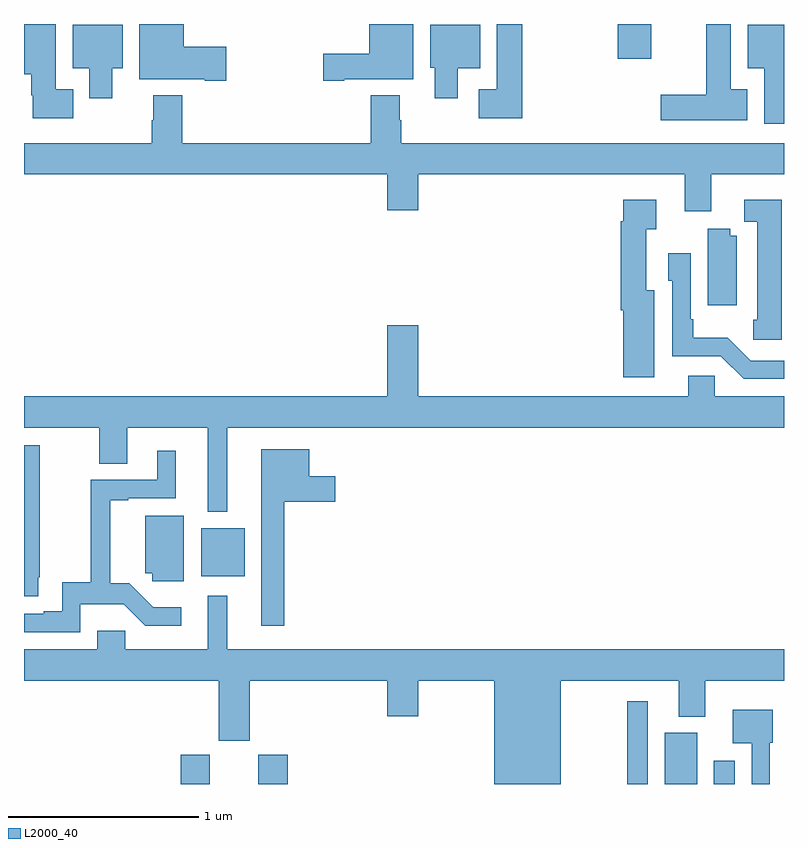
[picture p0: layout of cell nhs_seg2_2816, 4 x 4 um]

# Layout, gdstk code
import gdstk
lib = gdstk.Library(unit=1e-6, precision=1e-09)
def R(c, l, rs):  # rectangles x0, y0, x1, y1
    for r in rs: c.add(gdstk.rectangle(r[:2], r[2:], *l))
def P(c, l, *ps):  # polygons
    for p in ps: c.add(gdstk.Polygon(p, *l))
L2000_40 = (2000, 40)

nhs_seg2_2816 = lib.new_cell('nhs_seg2_2816')
R(nhs_seg2_2816, L2000_40, [(259.826,605.8,259.978,605.955), (260.234,605.8,260.387,605.955), (262.176,605.8,262.284,606.235), (262.373,605.8,262.543,606.07), (262.631,605.8,262.741,605.923), (259.934,606.893,260.161,607.147), (262.124,609.618,262.302,609.8)])
P(nhs_seg2_2816, L2000_40, [(262.807,609.457),(262.72,609.457),(262.72,609.8),(262.591,609.8),(262.591,609.428),(262.35,609.428),(262.35,609.293),(262.807,609.293)],
  [(259.258,609.457),(259.168,609.457),(259.168,609.8),(259,609.8),(259,609.536),(259.039,609.536),(259.039,609.425),(259.046,609.425),(259.046,609.305),(259.258,609.305)],
  [(260.065,609.68),(259.84,609.68),(259.84,609.8),(259.607,609.8),(259.607,609.509),(259.952,609.509),(259.952,609.502),(260.065,609.502)],
  [(260.686,609.509),(261.049,609.509),(261.049,609.8),(260.816,609.8),(260.816,609.644),(260.574,609.644),(260.574,609.502),(260.686,609.502)],
  [(261.623,609.8),(261.488,609.8),(261.488,609.457),(261.393,609.457),(261.393,609.305),(261.623,609.305)],
  [(263,609.796),(262.808,609.796),(262.808,609.566),(262.895,609.566),(262.895,609.276),(263,609.276)],
  [(261.283,609.566),(261.4,609.566),(261.4,609.796),(261.137,609.796),(261.137,609.57),(261.161,609.57),(261.161,609.408),(261.283,609.408)],
  [(259.465,609.566),(259.519,609.566),(259.519,609.796),(259.256,609.796),(259.256,609.566),(259.343,609.566),(259.343,609.408),(259.465,609.408)],
  [(262.618,609.008),(263,609.008),(263,609.172),(260.985,609.172),(260.985,609.293),(260.977,609.293),(260.977,609.424),(260.825,609.424),(260.825,609.172),(259.832,609.172),(259.832,609.424),(259.679,609.424),(259.679,609.293),(259.672,609.293),(259.672,609.172),(259,609.172),(259,609.008),(260.912,609.008),(260.912,608.82),(261.076,608.82),(261.076,609.008),(262.478,609.008),(262.478,608.814),(262.618,608.814)],
  [(262.987,608.875),(262.791,608.875),(262.791,608.76),(262.859,608.76),(262.859,608.244),(262.837,608.244),(262.837,608.139),(262.987,608.139)],
  [(262.318,608.398),(262.276,608.398),(262.276,608.719),(262.327,608.719),(262.327,608.875),(262.154,608.875),(262.154,608.762),(262.142,608.762),(262.142,608.294),(262.154,608.294),(262.154,607.941),(262.318,607.941)],
  [(262.75,608.686),(262.718,608.686),(262.718,608.723),(262.598,608.723),(262.598,608.319),(262.75,608.319)],
  [(263,608.028),(262.824,608.028),(262.703,608.149),(262.522,608.149),(262.522,608.245),(262.509,608.245),(262.509,608.593),(262.392,608.593),(262.392,608.448),(262.413,608.448),(262.413,608.052),(262.668,608.052),(262.788,607.932),(263,607.932)],
  [(260.071,607.676),(263,607.676),(263,607.84),(262.635,607.84),(262.635,607.95),(262.496,607.95),(262.496,607.84),(261.076,607.84),(261.076,608.215),(260.912,608.215),(260.912,607.84),(259,607.84),(259,607.676),(259.396,607.676),(259.396,607.486),(259.543,607.486),(259.543,607.676),(259.967,607.676),(259.967,607.232),(260.071,607.232)],
  [(259.076,606.889),(259.082,606.889),(259.082,607.584),(259,607.584),(259,606.787),(259.076,606.787)],
  [(260.371,607.286),(260.638,607.286),(260.638,607.42),(260.5,607.42),(260.5,607.561),(260.249,607.561),(260.249,606.633),(260.371,606.633)],
  [(259.296,606.746),(259.525,606.746),(259.638,606.633),(259.828,606.633),(259.828,606.73),(259.679,606.73),(259.553,606.856),(259.454,606.856),(259.454,607.293),(259.549,607.293),(259.549,607.305),(259.798,607.305),(259.798,607.555),(259.7,607.555),(259.7,607.401),(259.351,607.401),(259.351,606.863),(259.2,606.863),(259.2,606.71),(259.103,606.71),(259.103,606.696),(259,606.696),(259,606.6),(259.296,606.6)],
  [(259.84,607.213),(259.637,607.213),(259.637,606.908),(259.674,606.908),(259.674,606.866),(259.84,606.866)],
  [(261.826,606.344),(262.445,606.344),(262.445,606.155),(262.585,606.155),(262.585,606.344),(263,606.344),(263,606.508),(260.071,606.508),(260.071,606.79),(259.967,606.79),(259.967,606.508),(259.532,606.508),(259.532,606.606),(259.385,606.606),(259.385,606.508),(259,606.508),(259,606.344),(260.024,606.344),(260.024,606.027),(260.188,606.027),(260.188,606.344),(260.912,606.344),(260.912,606.156),(261.076,606.156),(261.076,606.344),(261.476,606.344),(261.476,605.8),(261.826,605.8)],
  [(262.926,606.018),(262.942,606.018),(262.942,606.19),(262.73,606.19),(262.73,606.014),(262.83,606.014),(262.83,605.8),(262.926,605.8)])

lib.write_gds('nhs_seg2_2816.gds')
